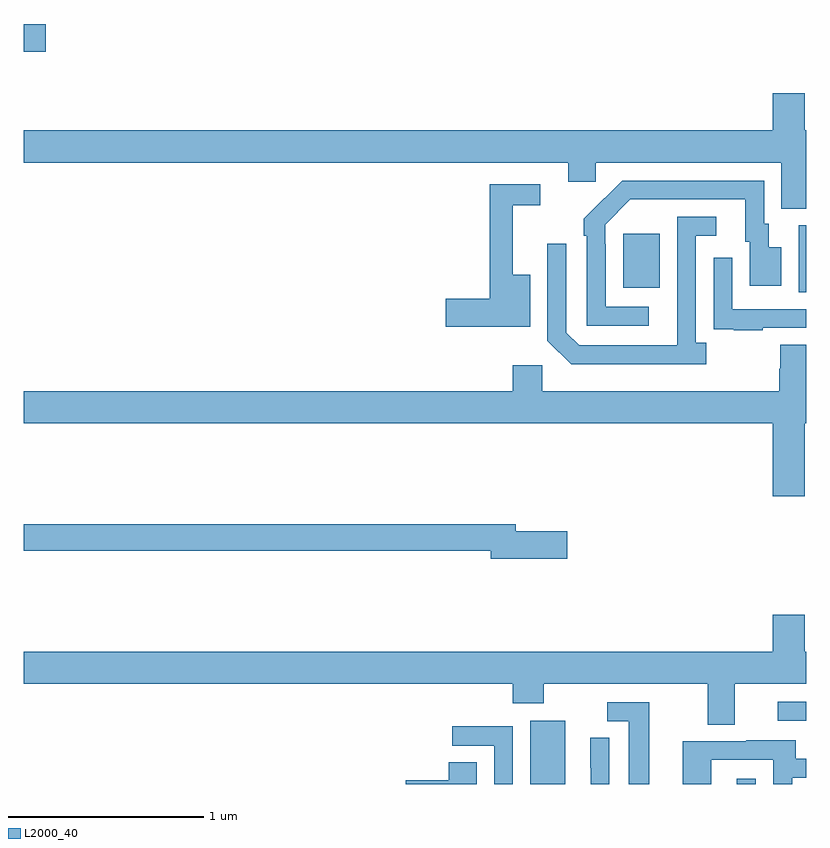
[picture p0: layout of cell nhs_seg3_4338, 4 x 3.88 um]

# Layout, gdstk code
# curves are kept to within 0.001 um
import gdstk
lib = gdstk.Library(unit=1e-6, precision=1e-09)
def R(c, l, rs):  # rectangles x0, y0, x1, y1
    for r in rs: c.add(gdstk.rectangle(r[:2], r[2:], *l))
def P(c, l, *ps):  # polygons
    for p in ps: c.add(gdstk.Polygon(p, *l))
L2000_40 = (2000, 40)

nhs_seg3_4338 = lib.new_cell('nhs_seg3_4338')
R(nhs_seg3_4338, L2000_40, [(343.589,704.4,343.768,704.722), (344.645,704.4,344.742,704.428), (344.853,704.724,345,704.82), (344.96,706.912,345,707.256), (344.063,706.937,344.251,707.212), (341,708.142,341.113,708.284)])
P(nhs_seg3_4338, L2000_40, [(345,707.74),(344.992,707.74),(344.992,707.929),(344.828,707.929),(344.828,707.74),(341,707.74),(341,707.576),(343.784,707.576),(343.784,707.478),(343.923,707.478),(343.923,707.576),(344.873,707.576),(344.873,707.341),(345,707.341)],
  [(344.194,706.839),(343.974,706.839),(343.974,707.159),(343.971,707.159),(343.971,707.259),(344.1,707.388),(344.687,707.388),(344.687,707.172),(344.711,707.172),(344.711,706.947),(344.872,706.947),(344.872,707.143),(344.809,707.143),(344.809,707.262),(344.784,707.262),(344.784,707.484),(344.06,707.484),(343.863,707.289),(343.863,707.201),(343.878,707.201),(343.878,706.743),(344.194,706.743)],
  [(343.588,707.002),(343.499,707.002),(343.499,707.358),(343.639,707.358),(343.639,707.466),(343.381,707.466),(343.381,706.88),(343.158,706.88),(343.158,706.738),(343.588,706.738)],
  [(344.488,706.654),(344.436,706.654),(344.436,707.202),(344.539,707.202),(344.539,707.298),(344.34,707.298),(344.339,706.641),(343.839,706.641),(343.773,706.707),(343.773,707.161),(343.677,707.161),(343.677,706.665),(343.798,706.544),(344.488,706.544)],
  [(344.777,706.731),(345,706.731),(345,706.827),(344.622,706.827),(344.622,707.089),(344.526,707.089),(344.526,706.834),(344.527,706.834),(344.527,706.725),(344.629,706.725),(344.629,706.719),(344.777,706.719)],
  [(344.992,706.244),(345,706.244),(345,706.646),(344.866,706.646),(344.866,706.521),(344.861,706.521),(344.861,706.408),(343.65,706.408),(343.65,706.54),(343.499,706.54),(343.499,706.408),(341,706.408),(341,706.244),(344.828,706.244),(344.828,705.87),(344.992,705.87)],
  [(343.777,705.692),(343.516,705.692),(343.516,705.728),(341,705.728),(341,705.592),(343.388,705.592),(343.388,705.55),(343.777,705.55)],
  [(344.635,704.912),(345,704.912),(345,705.076),(344.992,705.076),(344.992,705.265),(344.828,705.265),(344.828,705.076),(341,705.076),(341,704.912),(343.499,704.912),(343.499,704.813),(343.659,704.813),(343.659,704.912),(344.495,704.912),(344.495,704.704),(344.635,704.704)],
  [(344.197,704.817),(343.983,704.817),(343.983,704.721),(344.093,704.721),(344.093,704.4),(344.197,704.4)],
  [(343.5,704.694),(343.191,704.694),(343.191,704.595),(343.404,704.595),(343.404,704.4),(343.5,704.4)],
  [(343.992,704.636),(343.896,704.636),(343.896,704.482),(343.898,704.482),(343.898,704.4),(343.992,704.4)],
  [(344.514,704.523),(344.832,704.523),(344.832,704.4),(344.928,704.4),(344.928,704.433),(345,704.433),(345,704.529),(344.947,704.529),(344.947,704.623),(344.693,704.623),(344.693,704.619),(344.369,704.619),(344.369,704.4),(344.514,704.4)],
  [(343.315,704.51),(343.172,704.51),(343.172,704.42),(342.954,704.42),(342.954,704.4),(343.315,704.4)])

lib.write_gds('nhs_seg3_4338.gds')
